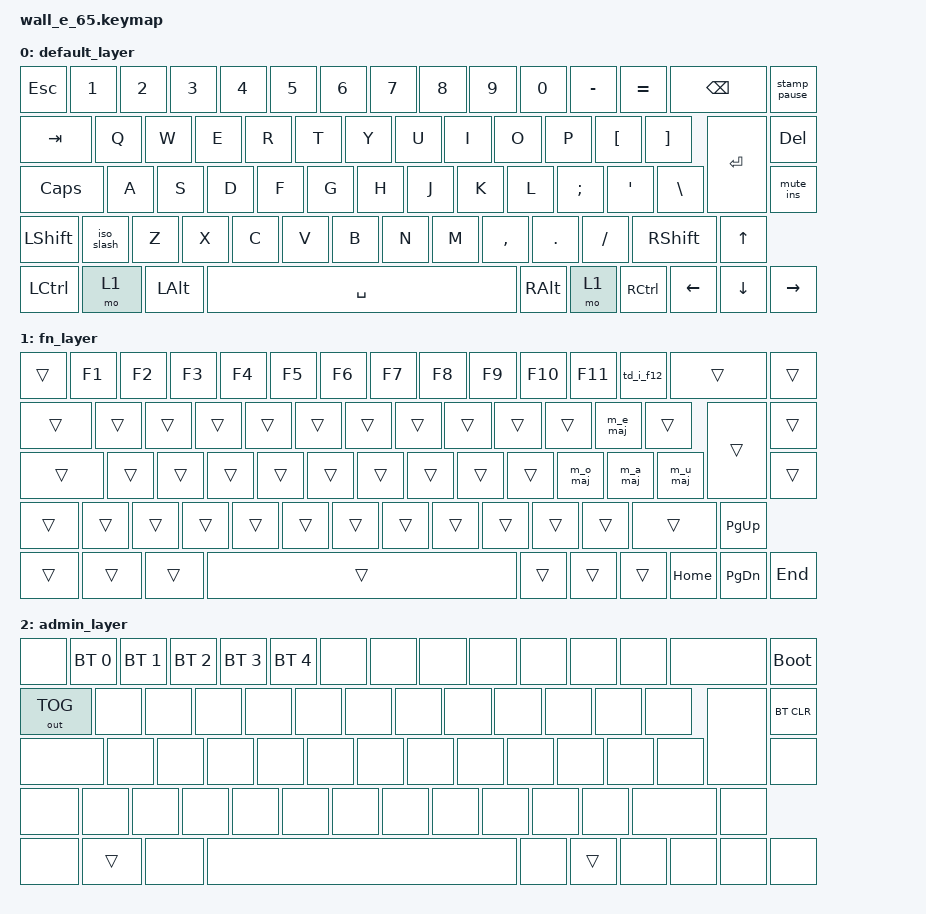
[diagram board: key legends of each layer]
#include <behaviors.dtsi>
#include <dt-bindings/zmk/keys.h>
#include <dt-bindings/zmk/bt.h>
#include <dt-bindings/zmk/outputs.h>
#include <dt-bindings/zmk/modifiers.h>

/ {
    /* Macro per le lettere maiuscole accentate Windows */
    macros {
        /* È (Alt + 0200) - Riconosciuta da Word senza errori */
        m_e_maj: m_e_maj {
            compatible = "zmk,behavior-macro";
            #binding-cells = <0>;
            wait-ms = <10>;
            tap-ms = <10>;
            bindings
                = <&macro_press &kp LALT>
                , <&macro_tap &kp KP_N0 &kp KP_N2 &kp KP_N0 &kp KP_N0>
                , <&macro_release &kp LALT>
                ;
        };

        /* À (Alt + 0192) */
        m_a_maj: m_a_maj {
            compatible = "zmk,behavior-macro";
            #binding-cells = <0>;
            wait-ms = <10>;
            tap-ms = <10>;
            bindings
                = <&macro_press &kp LALT>
                , <&macro_tap &kp KP_N0 &kp KP_N1 &kp KP_N9 &kp KP_N2>
                , <&macro_release &kp LALT>
                ;
        };

        /* Ò (Alt + 0210) */
        m_o_maj: m_o_maj {
            compatible = "zmk,behavior-macro";
            #binding-cells = <0>;
            wait-ms = <10>;
            tap-ms = <10>;
            bindings
                = <&macro_press &kp LALT>
                , <&macro_tap &kp KP_N0 &kp KP_N2 &kp KP_N1 &kp KP_N0>
                , <&macro_release &kp LALT>
                ;
        };

        /* Ù (Alt + 0217) */
        m_u_maj: m_u_maj {
            compatible = "zmk,behavior-macro";
            #binding-cells = <0>;
            wait-ms = <10>;
            tap-ms = <10>;
            bindings
                = <&macro_press &kp LALT>
                , <&macro_tap &kp KP_N0 &kp KP_N2 &kp KP_N1 &kp KP_N7>
                , <&macro_release &kp LALT>
                ;
        };

        /* Ì (Alt + 0204) */
        m_i_maj: m_i_maj {
            compatible = "zmk,behavior-macro";
            #binding-cells = <0>;
            wait-ms = <10>;
            tap-ms = <10>;
            bindings
                = <&macro_press &kp LALT>
                , <&macro_tap &kp KP_N0 &kp KP_N2 &kp KP_N0 &kp KP_N4>
                , <&macro_release &kp LALT>
                ;
        };
    };

    behaviors {
        /* Stamp premuto normalmente = STAMP
           Stamp premuto con SHIFT = PAUSA */
        stamp_pause: stamp_pause {
            compatible = "zmk,behavior-mod-morph";
            #binding-cells = <0>;
            bindings = <&kp PSCRN>, <&kp PAUSE_BREAK>;
            mods = <(MOD_LSFT|MOD_RSFT)>;
        };

        /* Muto / Ins (3° tasto colonna destra):
           - Da solo = MUTO (toggle audio on/off)
           - Con SHIFT = INS */
        mute_ins: mute_ins {
            compatible = "zmk,behavior-mod-morph";
            #binding-cells = <0>;
            bindings = <&kp C_MUTE>, <&kp INS>;
            mods = <(MOD_LSFT|MOD_RSFT)>;
        };

        /* Tasto < >:
           - Da solo = < (con Shift = >)
           - Con Ctrl SX o DX = \
           - Con Ctrl + Shift = | */
        iso_slash: iso_slash {
            compatible = "zmk,behavior-mod-morph";
            #binding-cells = <0>;
            bindings = <&kp NON_US_BSLH>, <&kp GRAVE>;
            mods = <(MOD_LCTL|MOD_RCTL)>;
        };

        /* Tap-Dance sul tasto ì (su Layer FN):
           - 1 tocco = Ì
           - 2 tocchi rapidi = F12 */
        td_i_f12: td_i_f12 {
            compatible = "zmk,behavior-tap-dance";
            #binding-cells = <0>;
            tapping-term-ms = <250>;
            bindings = <&m_i_maj>, <&kp F12>;
        };
    };

    combos {
        compatible = "zmk,combos";

        /* CASSAFORTE A 4 TASTI DI DESTRA:
           Shift DX (56) + AltGr (62) + FN DX (63) + Ctrl DX (64)
           Attiva il Livello 2 (Amministrazione e Bootloader) */
        combo_admin_layer {
            timeout-ms = <150>;
            key-positions = <56 62 63 64>;
            bindings = <&sl 2>;
        };
    };

    keymap {
        compatible = "zmk,keymap";

        /* LIVELLO 0: Layout Base ISO-IT */
        default_layer {
            bindings = <
                /* Fila 0 */
                &kp ESC    &kp N1    &kp N2    &kp N3    &kp N4    &kp N5    &kp N6    &kp N7    &kp N8    &kp N9    &kp N0    &kp MINUS  &kp EQUAL  &kp BSPC   &stamp_pause
                /* Fila 1 */
                &kp TAB    &kp Q     &kp W     &kp E     &kp R     &kp T     &kp Y     &kp U     &kp I     &kp O     &kp P     &kp LBKT   &kp RBKT   &kp RET    &kp DEL
                /* Fila 2: Il 3° tasto a destra è ora mute_ins */
                &kp CLCK   &kp A     &kp S     &kp D     &kp F     &kp G     &kp H     &kp J     &kp K     &kp L     &kp SEMI  &kp SQT    &kp BSLH              &mute_ins
                /* Fila 3: iso_slash gestisce <, >, \ e | */
                &kp LSHFT  &iso_slash        &kp Z     &kp X     &kp C     &kp V     &kp B     &kp N     &kp M     &kp COMMA &kp DOT    &kp FSLH   &kp RSHFT  &kp UP
                /* Fila 4 */
                &kp LCTRL  &mo 1     &kp LALT                      &kp SPACE                     &kp RALT  &mo 1     &kp RCTRL &kp LEFT   &kp DOWN   &kp RIGHT
            >;
        };

        /* LIVELLO 1: FN Layer (Vocali maiuscole, Frecce -> Navigazione, F1-F11 + TapDance F12) */
        fn_layer {
            bindings = <
                /* Fila 0: F1-F11 + (1 tap = Ì, 2 tap = F12) */
                &trans     &kp F1    &kp F2    &kp F3    &kp F4    &kp F5    &kp F6    &kp F7    &kp F8    &kp F9    &kp F10   &kp F11    &td_i_f12  &trans     &trans
                /* Fila 1: Tasto è diventa È */
                &trans     &trans    &trans    &trans    &trans    &trans    &trans    &trans    &trans    &trans    &trans    &m_e_maj   &trans     &trans     &trans
                /* Fila 2: Tasti ò, à, ù diventano Ò, À, Ù */
                &trans     &trans    &trans    &trans    &trans    &trans    &trans    &trans    &trans    &trans    &m_o_maj  &m_a_maj   &m_u_maj              &trans
                /* Fila 3 */
                &trans     &trans    &trans    &trans    &trans    &trans    &trans    &trans    &trans    &trans    &trans    &trans     &trans     &kp PG_UP
                /* Fila 4: Frecce -> Navigazione */
                &trans     &trans    &trans                        &trans                        &trans    &trans    &trans    &kp HOME   &kp PG_DN  &kp END
            >;
        };

        /* LIVELLO 2: Cassaforte di Sistema (Shift DX + AltGr + FN DX + Ctrl DX) */
        admin_layer {
            bindings = <
                /* 1-5 = Scelta Profilo Bluetooth | STAMP = Modalità Bootloader */
                &none          &bt BT_SEL 0 &bt BT_SEL 1 &bt BT_SEL 2 &bt BT_SEL 3 &bt BT_SEL 4 &none &none &none &none &none &none &none &none &bootloader
                /* TAB = Commuta Cavo ⇄ Bluetooth | CANC = Cancella Profilo Attivo */
                &out OUT_TOG   &none        &none        &none        &none        &none        &none &none &none &none &none &none &none &none &bt BT_CLR
                /* Fila 2 */
                &none          &none        &none        &none        &none        &none        &none &none &none &none &none &none &none       &none
                /* Fila 3 */
                &none          &none        &none        &none        &none        &none        &none &none &none &none &none &none &none &none
                /* Fila 4 */
                &none          &trans       &none                                  &none                            &none &trans &none &none &none &none
            >;
        };
    };
};
